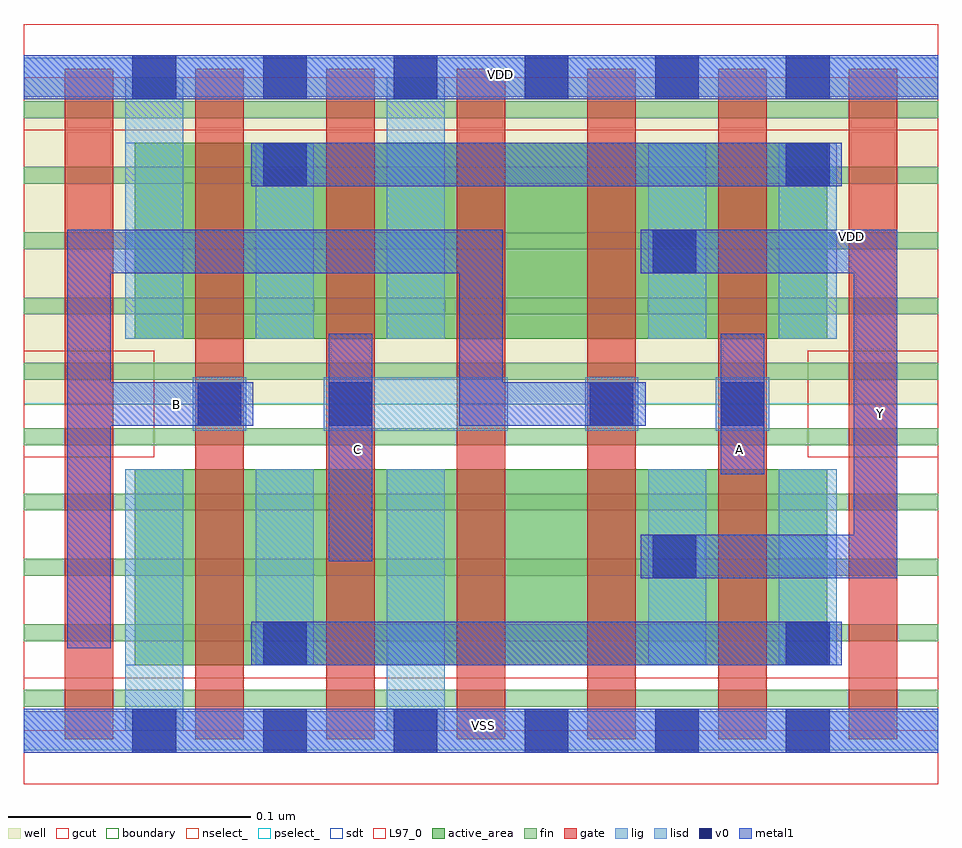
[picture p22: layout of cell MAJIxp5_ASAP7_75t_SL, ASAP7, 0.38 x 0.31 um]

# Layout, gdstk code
import gdstk
lib = gdstk.Library(unit=1e-6, precision=2.5e-10)
def R(c, l, rs):  # rectangles x0, y0, x1, y1
    for r in rs: c.add(gdstk.rectangle(r[:2], r[2:], *l))
def A(c, l, x, y, w, h, nx, ny, dx, dy):  # array of equal rectangles
    R(c, l, [(x+i*dx, y+j*dy, x+i*dx+w, y+j*dy+h) for i in range(nx) for j in range(ny)])
def P(c, l, *ps):  # polygons
    for p in ps: c.add(gdstk.Polygon(p, *l))
well = (1, 0)
fin = (2, 0)
gate = (7, 0)
gcut = (10, 0)
active_area = (11, 0)
nselect_ = (12, 0)
pselect_ = (13, 0)
lig = (16, 0)
lisd = (17, 0)
v0 = (18, 0)
metal1 = (19, 0)
sdt = (88, 0)
L97_0 = (97, 0)
boundary = (100, 0)

majixp5_asap7_75t_sl = lib.new_cell('MAJIxp5_ASAP7_75t_SL')
R(majixp5_asap7_75t_sl, well, [(0,0.135,0.378,0.27)])
A(majixp5_asap7_75t_sl, fin, 0, 0.01, 0.378, 0.007, 1, 10, 0, 0.027)
A(majixp5_asap7_75t_sl, gate, 0.017, -0.0035, 0.02, 0.277, 7, 1, 0.054, 0)
R(majixp5_asap7_75t_sl, gcut, [(0,-0.022,0.378,0.022), (0,0.113,0.054,0.157), (0.324,0.113,0.378,0.157), (0,0.248,0.378,0.292)])
R(majixp5_asap7_75t_sl, active_area, [(0.046,0.027,0.332,0.108), (0.046,0.162,0.332,0.243)])
R(majixp5_asap7_75t_sl, nselect_, [(0,0,0.378,0.135)])
R(majixp5_asap7_75t_sl, pselect_, [(0,0.135,0.378,0.27)])
R(majixp5_asap7_75t_sl, lig, [(0,-0.008,0.378,0.008), (0.07,0.124,0.092,0.146), (0.124,0.124,0.2,0.146), (0.232,0.124,0.254,0.146), (0.286,0.124,0.308,0.146), (0,0.262,0.378,0.278)])
R(majixp5_asap7_75t_sl, lisd, [(0.042,0,0.066,0.108), (0.15,0,0.174,0.108), (0.096,0.027,0.12,0.108), (0.258,0.027,0.282,0.108), (0.312,0.027,0.336,0.108), (0.042,0.162,0.066,0.27), (0.096,0.162,0.12,0.243), (0.15,0.162,0.174,0.27), (0.258,0.162,0.282,0.243), (0.312,0.162,0.336,0.243)])
A(majixp5_asap7_75t_sl, v0, 0.045, -0.009, 0.018, 0.018, 6, 2, 0.054, 0.27)
R(majixp5_asap7_75t_sl, v0, [(0.099,0.027,0.117,0.045), (0.315,0.027,0.333,0.045), (0.26,0.063,0.278,0.081), (0.072,0.126,0.09,0.144), (0.126,0.126,0.144,0.144), (0.234,0.126,0.252,0.144), (0.288,0.126,0.306,0.144), (0.26,0.189,0.278,0.207), (0.099,0.225,0.117,0.243), (0.315,0.225,0.333,0.243)])
R(majixp5_asap7_75t_sl, metal1, [(0,-0.009,0.378,0.009), (0.094,0.027,0.338,0.045), (0.126,0.07,0.144,0.164), (0.288,0.106,0.306,0.164), (0.094,0.225,0.338,0.243), (0,0.261,0.378,0.279)])
P(majixp5_asap7_75t_sl, metal1, [(0.361,0.207),(0.255,0.207),(0.255,0.189),(0.343,0.189),(0.343,0.081),(0.255,0.081),(0.255,0.063),(0.361,0.063)],
  [(0.257,0.144),(0.198,0.144),(0.198,0.207),(0.018,0.207),(0.018,0.034),(0.036,0.034),(0.036,0.126),(0.095,0.126),(0.095,0.144),(0.036,0.144),(0.036,0.189),(0.18,0.189),(0.18,0.126),(0.257,0.126)])
A(majixp5_asap7_75t_sl, sdt, 0.042, 0.027, 0.024, 0.081, 3, 2, 0.054, 0.135)
R(majixp5_asap7_75t_sl, sdt, [(0.258,0.027,0.282,0.108), (0.312,0.027,0.336,0.108), (0.258,0.162,0.282,0.243), (0.312,0.162,0.336,0.243)])
R(majixp5_asap7_75t_sl, L97_0, [(0,0,0.378,0.27)])
R(majixp5_asap7_75t_sl, boundary, [(0,0,0.378,0.27)])
majixp5_asap7_75t_sl.add(gdstk.Label('B', (0.063,0.135), layer=19, texttype=251))
majixp5_asap7_75t_sl.add(gdstk.Label('C', (0.138,0.116), layer=19, texttype=251))
majixp5_asap7_75t_sl.add(gdstk.Label('Y', (0.354,0.131), layer=19, texttype=251))
majixp5_asap7_75t_sl.add(gdstk.Label('VSS', (0.19,0.002), layer=19, texttype=251))
majixp5_asap7_75t_sl.add(gdstk.Label('A', (0.296,0.116), layer=19, texttype=251))
majixp5_asap7_75t_sl.add(gdstk.Label('VDD', (0.197,0.271), layer=19, texttype=251))
majixp5_asap7_75t_sl.add(gdstk.Label('VDD', (0.342,0.204), layer=1, texttype=251))
majixp5_asap7_75t_sl.add(gdstk.Label('VSS', (0.411,0.203), layer=3, texttype=251))

lib.write_gds('MAJIxp5_ASAP7_75t_SL.gds')
